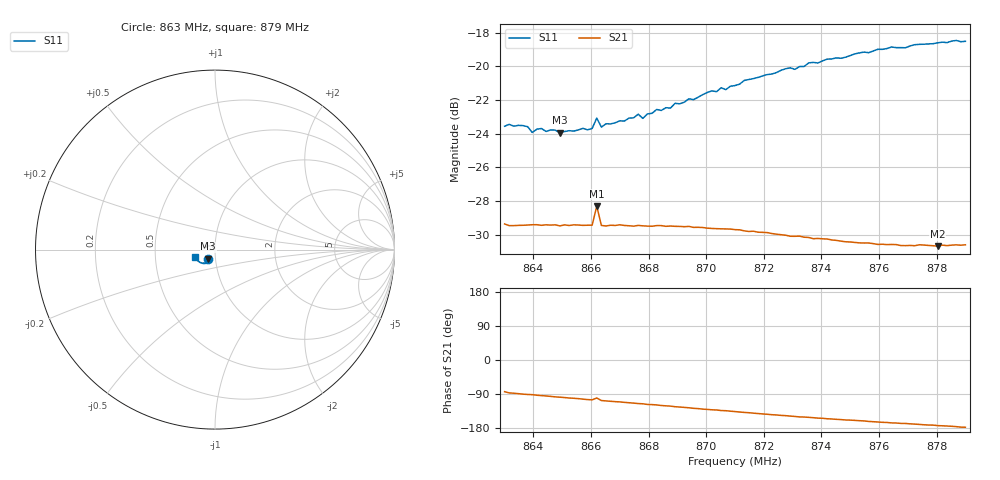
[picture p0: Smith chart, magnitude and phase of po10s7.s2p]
# HZ S RI R 50
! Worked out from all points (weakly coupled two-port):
!   101 points, 863 MHz to 879 MHz, reference 50 ohm
!   highest |S21| = -28.29 dB at 866.2 MHz (marker M1); lowest = -30.7 dB at 878.04 MHz (marker M2)
!   lowest |S11| = -23.9 dB at 864.92 MHz (marker M3), VSWR 1.14, Z = 46.1 - j4.71 ohm
!   |S11| at or under -10 dB: start of sweep to end of sweep
!   S12 and S22 are empty: the file has one direction only
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8.63e8  -0.0409 -0.0524  0.00381 -0.0338  0 0  0 0
8.6364e8  -0.0411 -0.0526  -5.2e-05 -0.0338  0 0  0 0
8.638e8  -0.0399 -0.0529  -0.000562 -0.0338  0 0  0 0
8.6396e8  -0.0375 -0.0515  -0.000876 -0.0339  0 0  0 0
8.6428e8  -0.0371 -0.0539  -0.00233 -0.0337  0 0  0 0
8.6492e8  -0.0381 -0.0509  -0.00476 -0.0333  0 0  0 0
8.6572e8  -0.0331 -0.0565  -0.00776 -0.0328  0 0  0 0
8.6604e8  -0.0321 -0.057  -0.00881 -0.0326  0 0  0 0
8.662e8  -0.0229 -0.0664  -0.00683 -0.0379  0 0  0 0
8.6636e8  -0.0327 -0.0574  -0.00985 -0.0323  0 0  0 0
8.6764e8  -0.0339 -0.0637  -0.0142 -0.0306  0 0  0 0
8.678e8  -0.0327 -0.062  -0.0145 -0.0303  0 0  0 0
8.6828e8  -0.0335 -0.0666  -0.0161 -0.0296  0 0  0 0
8.6844e8  -0.0339 -0.0658  -0.0169 -0.0292  0 0  0 0
8.702e8  -0.041 -0.0741  -0.0219 -0.0248  0 0  0 0
8.71e8  -0.0463 -0.0746  -0.0236 -0.0227  0 0  0 0
8.7132e8  -0.0486 -0.0768  -0.0243 -0.0216  0 0  0 0
8.7308e8  -0.0615 -0.0763  -0.0268 -0.0161  0 0  0 0
8.7372e8  -0.0682 -0.0769  -0.0273 -0.0143  0 0  0 0
8.7644e8  -0.0946 -0.0639  -0.0287 -0.00716  0 0  0 0
8.7804e8  -0.1061 -0.0507  -0.0291 -0.0035  0 0  0 0
8.79e8  -0.1122 -0.0389  -0.0295 -0.0013  0 0  0 0
